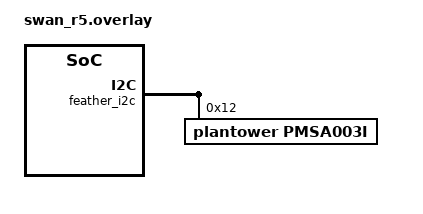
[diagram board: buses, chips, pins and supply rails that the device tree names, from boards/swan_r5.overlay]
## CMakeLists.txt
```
# Minimum CMake version
cmake_minimum_required(VERSION 3.22.0)

# Locate the Zephyr RTOS source
find_package(Zephyr REQUIRED HINTS $ENV{ZEPHYR_BASE})

# Name the project
project(pmsa003i_example)

# Locate the source code for the application
target_sources(app PRIVATE src/main.c)
```

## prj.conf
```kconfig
CONFIG_GPIO=y
CONFIG_SENSOR=y
CONFIG_I2C=y
CONFIG_PMSA003I=y
CONFIG_LOG=y
CONFIG_LOG_DEFAULT_LEVEL=3
```

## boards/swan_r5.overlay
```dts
// Enable I2C0 and add MCP9808 sensor
/ {
    aliases {
        airquality = &pmsa003i;
    };
};

&feather_i2c {
    status = "okay"; 										// Enable I2C interface

	// Label: name of our device node
    pmsa003i: pmsa003i@12 {
        compatible = "plantower,pmsa003i"; 					// Specify device bindings/driver
        reg = <0x12>; 										// I2C address of the PMSA003I
        status = "okay"; 									// Enable the PMSA003I sensor
    };
};
```

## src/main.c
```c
#include <zephyr/kernel.h>
#include <zephyr/device.h>
#include <zephyr/drivers/sensor.h>
#include <stdio.h>

int main(void)
{
	const struct device *const pmsa = DEVICE_DT_GET(DT_NODELABEL(pmsa003i));
	int ret;

    // Check if the PMSA003I present
	if (pmsa == NULL) {
		printf("PMSA003I not found.\n");
		return 0;
	}

    // Check if the PMSA003I is ready
	if (!device_is_ready(pmsa)) {
		printf("Device %s is not ready.\n", pmsa->name);
		return 0;
	}

    while (1)
    {
        struct sensor_value pm1_0, pm2_5, pm10;

        // Fetch the PM1.0, PM2.5, and PM10 values from the sensor into the device's data structure
        ret = sensor_sample_fetch(pmsa);
        if (ret != 0) {
            printf("Sample fetch error: %d\n", ret);
            return 0;
        }

        // Copy the PM1.0 value from the device's data structure into the pm1_0 struct
        ret = sensor_channel_get(pmsa, SENSOR_CHAN_PM_1_0, &pm1_0);
        if (ret != 0) {
            printf("Channel get error: %d\n", ret);
            return 0;
        }

        // Copy the PM2.5 value from the device's data structure into the pm2_5 struct
        ret = sensor_channel_get(pmsa, SENSOR_CHAN_PM_2_5, &pm2_5);
        if (ret != 0) {
            printf("Channel get error: %d\n", ret);
            return 0;
        }

        // Copy the PM10 value from the device's data structure into the pm10 struct
        ret = sensor_channel_get(pmsa, SENSOR_CHAN_PM_10, &pm10);
        if (ret != 0) {
            printf("Channel get error: %d\n", ret);
            return 0;
        }

        // Print the PM1.0 value
        printf("PM1.0: %d\n", pm1_0.val1);
        printf("PM2.5: %d\n", pm2_5.val1);
        printf("PM10: %d\n", pm10.val1);

        // Sleep for 5 seconds
        k_sleep(K_SECONDS(5));
    }

    return 0;
}
```
